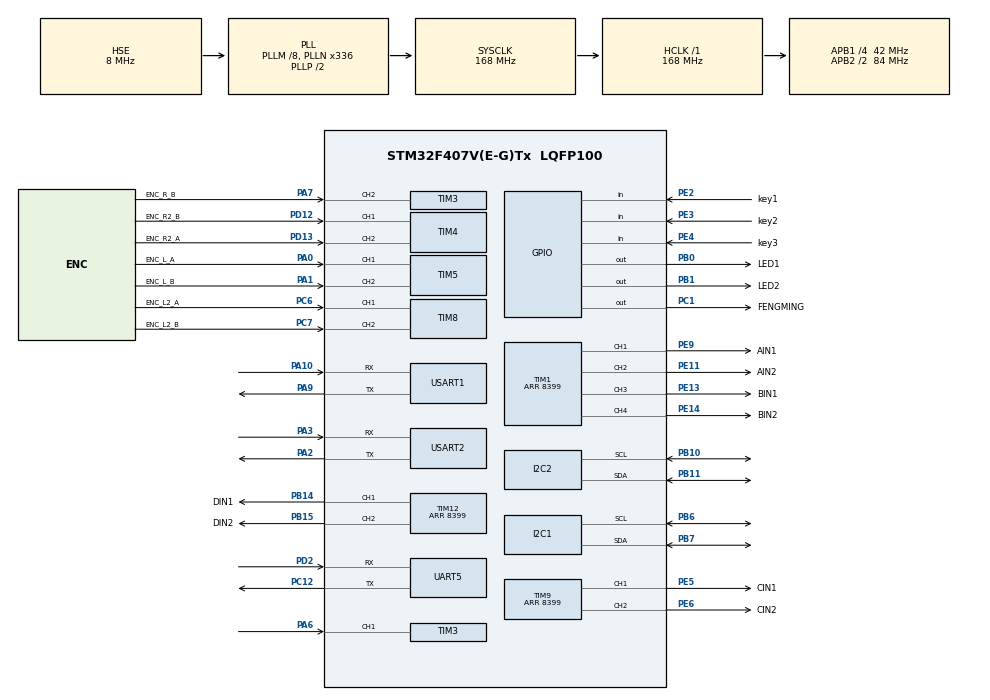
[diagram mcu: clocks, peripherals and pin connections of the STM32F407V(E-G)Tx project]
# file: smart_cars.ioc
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Mcu.Family=STM32F4
Mcu.Name=STM32F407V(E-G)Tx
Mcu.Package=LQFP100
NVIC.PriorityGroup=NVIC_PRIORITYGROUP_4
NVIC.TIM6_DAC_IRQn=true\:0\:0\:false\:false\:true\:true\:true\:true
NVIC.TIM7_IRQn=true\:0\:0\:false\:false\:true\:true\:true\:true
PA0-WKUP.GPIO_Label=ENC_L_A
PA0-WKUP.Signal=S_TIM5_CH1
PA1.GPIO_Label=ENC_L_B
PA1.Signal=S_TIM5_CH2
PA10.Mode=Asynchronous
PA10.Signal=USART1_RX
PA2.Mode=Asynchronous
PA2.Signal=USART2_TX
PA3.Mode=Asynchronous
PA3.Signal=USART2_RX
PA6.Signal=S_TIM3_CH1
PA7.GPIO_Label=ENC_R_B
PA7.Signal=S_TIM3_CH2
PA9.Mode=Asynchronous
PA9.Signal=USART1_TX
PB0.GPIO_Label=LED1
PB0.Signal=GPIO_Output
PB1.GPIO_Label=LED2
PB1.Signal=GPIO_Output
PB10.Mode=I2C
PB10.Signal=I2C2_SCL
PB11.Mode=I2C
PB11.Signal=I2C2_SDA
PB14.GPIO_Label=DIN1
PB14.Signal=S_TIM12_CH1
PB15.GPIO_Label=DIN2
PB15.Signal=S_TIM12_CH2
PB6.Mode=I2C
PB6.Signal=I2C1_SCL
PB7.Mode=I2C
PB7.Signal=I2C1_SDA
PC1.GPIO_Label=FENGMING
PC1.Signal=GPIO_Output
PC12.Mode=Asynchronous
PC12.Signal=UART5_TX
PC14-OSC32_IN.Mode=LSE-External-Oscillator
PC14-OSC32_IN.Signal=RCC_OSC32_IN
PC15-OSC32_OUT.Mode=LSE-External-Oscillator
PC15-OSC32_OUT.Signal=RCC_OSC32_OUT
PC6.GPIO_Label=ENC_L2_A
PC6.Signal=S_TIM8_CH1
PC7.GPIO_Label=ENC_L2_B
PC7.Signal=S_TIM8_CH2
PD12.GPIO_Label=ENC_R2_B
PD12.Signal=S_TIM4_CH1
PD13.GPIO_Label=ENC_R2_A
PD13.Signal=S_TIM4_CH2
PD2.Mode=Asynchronous
PD2.Signal=UART5_RX
PE11.GPIO_Label=AIN2
PE11.Signal=S_TIM1_CH2
PE13.GPIO_Label=BIN1
PE13.Signal=S_TIM1_CH3
PE14.GPIO_Label=BIN2
PE14.Signal=S_TIM1_CH4
PE2.GPIO_Label=key1
PE2.Signal=GPIO_Input
PE3.GPIO_Label=key2
PE3.Signal=GPIO_Input
PE4.GPIO_Label=key3
PE4.Signal=GPIO_Input
PE5.GPIO_Label=CIN1
PE5.Signal=S_TIM9_CH1
PE6.GPIO_Label=CIN2
PE6.Signal=S_TIM9_CH2
PE9.GPIO_Label=AIN1
PE9.Signal=S_TIM1_CH1
PH0-OSC_IN.Mode=HSE-External-Oscillator
PH0-OSC_IN.Signal=RCC_OSC_IN
PH1-OSC_OUT.Mode=HSE-External-Oscillator
PH1-OSC_OUT.Signal=RCC_OSC_OUT
ProjectManager.HeapSize=0x200
ProjectManager.StackSize=0x400
ProjectManager.TargetToolchain=MDK-ARM V5.32
RCC.48MHZClocksFreq_Value=84000000
RCC.AHBFreq_Value=168000000
RCC.APB1CLKDivider=RCC_HCLK_DIV4
RCC.APB1Freq_Value=42000000
RCC.APB1TimFreq_Value=84000000
RCC.APB2CLKDivider=RCC_HCLK_DIV2
RCC.APB2Freq_Value=84000000
RCC.APB2TimFreq_Value=168000000
RCC.CortexFreq_Value=168000000
RCC.HCLKFreq_Value=168000000
RCC.HSE_VALUE=8000000
RCC.HSI_VALUE=16000000
RCC.PLLM=8
RCC.PLLN=336
RCC.PLLSourceVirtual=RCC_PLLSOURCE_HSE
RCC.SYSCLKFreq_VALUE=168000000
RCC.SYSCLKSource=RCC_SYSCLKSOURCE_PLLCLK
RCC.VCOOutputFreq_Value=336000000
SH.S_TIM12_CH1.0=TIM12_CH1,PWM Generation1 CH1
SH.S_TIM12_CH2.0=TIM12_CH2,PWM Generation2 CH2
SH.S_TIM1_CH1.0=TIM1_CH1,PWM Generation1 CH1
SH.S_TIM1_CH2.0=TIM1_CH2,PWM Generation2 CH2
SH.S_TIM1_CH3.0=TIM1_CH3,PWM Generation3 CH3
SH.S_TIM1_CH4.0=TIM1_CH4,PWM Generation4 CH4
SH.S_TIM3_CH1.0=TIM3_CH1,Encoder_Interface
SH.S_TIM3_CH2.0=TIM3_CH2,Encoder_Interface
SH.S_TIM4_CH1.0=TIM4_CH1,Encoder_Interface
SH.S_TIM4_CH2.0=TIM4_CH2,Encoder_Interface
SH.S_TIM5_CH1.0=TIM5_CH1,Encoder_Interface
SH.S_TIM5_CH2.0=TIM5_CH2,Encoder_Interface
SH.S_TIM8_CH1.0=TIM8_CH1,Encoder_Interface
SH.S_TIM8_CH2.0=TIM8_CH2,Encoder_Interface
SH.S_TIM9_CH1.0=TIM9_CH1,PWM Generation1 CH1
SH.S_TIM9_CH2.0=TIM9_CH2,PWM Generation2 CH2
TIM1.AutoReloadPreload=TIM_AUTORELOAD_PRELOAD_ENABLE
TIM1.Channel-PWM\ Generation1\ CH1=TIM_CHANNEL_1
TIM1.Channel-PWM\ Generation2\ CH2=TIM_CHANNEL_2
TIM1.Channel-PWM\ Generation3\ CH3=TIM_CHANNEL_3
TIM1.Channel-PWM\ Generation4\ CH4=TIM_CHANNEL_4
TIM1.Period=8399
TIM12.AutoReloadPreload=TIM_AUTORELOAD_PRELOAD_ENABLE
TIM12.Channel-PWM\ Generation1\ CH1=TIM_CHANNEL_1
TIM12.Channel-PWM\ Generation2\ CH2=TIM_CHANNEL_2
TIM12.Period=8399
TIM3.EncoderMode=TIM_ENCODERMODE_TI12
TIM4.EncoderMode=TIM_ENCODERMODE_TI12
TIM5.EncoderMode=TIM_ENCODERMODE_TI12
TIM6.Period=9
TIM6.Prescaler=8933
TIM7.Period=9999
TIM7.Prescaler=83
TIM8.EncoderMode=TIM_ENCODERMODE_TI12
TIM9.AutoReloadPreload=TIM_AUTORELOAD_PRELOAD_ENABLE
TIM9.Channel-PWM\ Generation1\ CH1=TIM_CHANNEL_1
TIM9.Channel-PWM\ Generation2\ CH2=TIM_CHANNEL_2
TIM9.Period=8399
UART5.VirtualMode=Asynchronous
USART1.VirtualMode=VM_ASYNC
USART2.VirtualMode=VM_ASYNC
VP_TIM12_VS_ClockSourceINT.Mode=Internal
VP_TIM1_VS_ClockSourceINT.Mode=Internal
VP_TIM6_VS_ClockSourceINT.Mode=Enable_Timer
VP_TIM7_VS_ClockSourceINT.Mode=Enable_Timer
VP_TIM9_VS_ClockSourceINT.Mode=Internal
board=custom

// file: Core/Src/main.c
/* USER CODE BEGIN Header */
/**
  ******************************************************************************
  * @file           : main.c
  * @brief          : Main program body
  ******************************************************************************
  * @attention
  *
  * Copyright (c) 2026 STMicroelectronics.
  * All rights reserved.
  *
  * This software is licensed under terms that can be found in the LICENSE file
  * in the root directory of this software component.
  * If no LICENSE file comes with this software, it is provided AS-IS.
  *
  ******************************************************************************
  */
/* USER CODE END Header */
#include "main.h"
#include "dma.h"
#include "i2c.h"
#include "tim.h"
#include "usart.h"
#include "gpio.h"

/* USER CODE BEGIN Includes */
#include "task.h"
#include "encoder.h"
#include <stdint.h>
#include <stdio.h>
#include "motor.h"

/* USER CODE END Includes */

/* USER CODE BEGIN PTD */
all_task_state_t current_task_state=SELECT_TASK;//创建全局变量，表示当前任务状态
/* USER CODE END PTD */

/* USER CODE BEGIN PD */
extern Motor motorFL;
extern Motor motorFR;
extern Motor motorRL;
extern Motor motorRR;
/* USER CODE END PD */

void SystemClock_Config(void);

int main(void)
{
  uint32_t last_encoder_print_tick;

  /* MCU Configuration--------------------------------------------------------*/

  /* Reset of all peripherals, Initializes the Flash interface and the Systick. */
  HAL_Init();

  /* Configure the system clock */
  SystemClock_Config();

  /* Initialize all configured peripherals */
  MX_GPIO_Init();
  MX_DMA_Init();
  MX_TIM3_Init();
  MX_TIM4_Init();
  MX_TIM5_Init();
  MX_USART2_UART_Init();
  MX_TIM1_Init();
  MX_TIM8_Init();
  MX_TIM9_Init();
  MX_TIM12_Init();
  MX_I2C1_Init();
  MX_I2C2_Init();
  MX_UART5_Init();
  MX_USART1_UART_Init();
  MX_TIM6_Init();
  MX_TIM7_Init();
  /* USER CODE BEGIN 2 */
  if (Task_Init() != HAL_OK)
  {
    Error_Handler();
  }
  /* USER CODE END 2 */

  /* Infinite loop */
  /* USER CODE BEGIN WHILE */
//Motor motorRL = {1, 200, 1, 0.15f, 0.05f, 0.0f};
//Motor motorRR = {2, 200, 0, 0.15f, 0.0615f, 0.0f};
//Motor motorFL = {3, 200, 1, 0.132f, 0.04f, 0.0f};
//Motor motorFR = {4, 200, 0, 0.145f, 0.051f, 0.0f};
printf("successful initialization\n");
  last_encoder_print_tick = HAL_GetTick();
  while (1)
  {
    uint32_t now;

    /* 速度环：内部按 10 ms 节拍闭环四轮，四轮目标由 task.c 管（视觉帧 / 串口命令写进去）。 */
    Task_MotorControl_Update();

    //if (Task1_Run() == TASK_ERROR)
    //{
    //  printf("Task1_Run() returned TASK_ERROR\n");
      //Error_Handler();
    //}

    now = HAL_GetTick();
    if ((uint32_t)(now - last_encoder_print_tick) >= 1000U)
    {
      last_encoder_print_tick = now;
      printf("motorRL:%+ld mm/s\n",
             (long)encoder_get_speed(1));

    }

    /* USER CODE END WHILE */

  }
}

void SystemClock_Config(void)
{
  RCC_OscInitTypeDef RCC_OscInitStruct = {0};
  RCC_ClkInitTypeDef RCC_ClkInitStruct = {0};

  /** Configure the main internal regulator output voltage
  */
  __HAL_RCC_PWR_CLK_ENABLE();
  __HAL_PWR_VOLTAGESCALING_CONFIG(PWR_REGULATOR_VOLTAGE_SCALE1);

  /** Initializes the RCC Oscillators according to the specified parameters
  * in the RCC_OscInitTypeDef structure.
  */
  RCC_OscInitStruct.OscillatorType = RCC_OSCILLATORTYPE_HSE;
  RCC_OscInitStruct.HSEState = RCC_HSE_ON;
  RCC_OscInitStruct.PLL.PLLState = RCC_PLL_ON;
  RCC_OscInitStruct.PLL.PLLSource = RCC_PLLSOURCE_HSE;
  RCC_OscInitStruct.PLL.PLLM = 8;
  RCC_OscInitStruct.PLL.PLLN = 336;
  RCC_OscInitStruct.PLL.PLLP = RCC_PLLP_DIV2;
  RCC_OscInitStruct.PLL.PLLQ = 4;
  if (HAL_RCC_OscConfig(&RCC_OscInitStruct) != HAL_OK)
  {
    Error_Handler();
  }

  /** Initializes the CPU, AHB and APB buses clocks
  */
  RCC_ClkInitStruct.ClockType = RCC_CLOCKTYPE_HCLK|RCC_CLOCKTYPE_SYSCLK
                              |RCC_CLOCKTYPE_PCLK1|RCC_CLOCKTYPE_PCLK2;
  RCC_ClkInitStruct.SYSCLKSource = RCC_SYSCLKSOURCE_PLLCLK;
  RCC_ClkInitStruct.AHBCLKDivider = RCC_SYSCLK_DIV1;
  RCC_ClkInitStruct.APB1CLKDivider = RCC_HCLK_DIV4;
  RCC_ClkInitStruct.APB2CLKDivider = RCC_HCLK_DIV2;

  if (HAL_RCC_ClockConfig(&RCC_ClkInitStruct, FLASH_LATENCY_5) != HAL_OK)
  {
    Error_Handler();
  }
}

void Error_Handler(void)
{
  __disable_irq();
  while (1)
  {
  }
}
